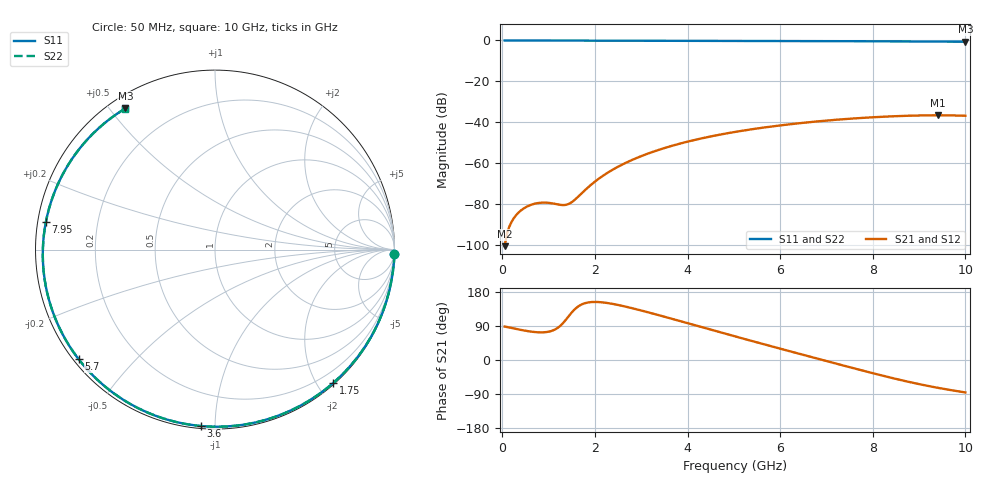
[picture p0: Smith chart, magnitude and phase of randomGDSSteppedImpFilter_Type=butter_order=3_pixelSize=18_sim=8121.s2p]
! freq	dB(S11)	phase(S11)	dB(S12)	phase(S12)
!  dB(S21)	phase(S21)	dB(S22)	phase(S22)
!S-par simulation data
#  GHz  S  DB  R 50
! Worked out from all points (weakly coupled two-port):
!   200 points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, 50 MHz to 10 GHz, reference 50 ohm
!   highest |S21| = -36.60 dB at 9.4 GHz (marker M1); lowest = -100.6 dB at 50 MHz (marker M2)
!   lowest |S11| = -0.6 dB at 10 GHz (marker M3), VSWR 28.22, Z = 2.31 + j27.5 ohm
!   |S11| at or under -10 dB: nowhere
!   |S22| runs from -0.6 to 0.0 dB; largest |S21 - S12| = 0
!   S11 on the Smith chart (normalised r, x): 50 MHz: 0, -80; 1.75 GHz: 0.02, -2.23; 3.6 GHz: 0.01, -0.92; 5.7 GHz: 0.01, -0.35; 7.95 GHz: 0.02, +0.08; 10 GHz: 0.05, +0.55
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0.05  -0.00 -1.4  -100.60 88.2  -100.60 88.2  -0.00 -1.4
0.7  -0.03 -19.7  -79.84 73.8  -79.84 73.8  -0.03 -19.7
0.9  -0.03 -25.3  -79.29 73.1  -79.29 73.1  -0.03 -25.2
1.15  -0.04 -32.2  -79.96 81.2  -79.96 81.2  -0.04 -32.1
1.4  -0.05 -39.0  -80.24 110.4  -80.24 110.4  -0.05 -38.9
1.5  -0.05 -41.7  -79.09 125.5  -79.09 125.5  -0.05 -41.6
1.75  -0.06 -48.4  -73.98 148.4  -73.98 148.4  -0.06 -48.3
2.1  -0.07 -57.6  -67.34 152.8  -67.34 152.8  -0.07 -57.5
2.45  -0.08 -66.6  -62.36 146.5  -62.36 146.5  -0.08 -66.5
2.9  -0.10 -77.8  -57.49 133.8  -57.49 133.8  -0.10 -77.7
3.4  -0.11 -89.9  -53.34 117.6  -53.34 117.6  -0.11 -89.8
3.6  -0.12 -94.6  -51.94 110.9  -51.94 110.9  -0.12 -94.6
4.3  -0.15 -110.7  -47.90 87.0  -47.90 87.0  -0.15 -110.6
5.05  -0.19 -127.3  -44.64 61.5  -44.64 61.5  -0.19 -127.2
5.7  -0.22 -141.2  -42.43 39.9  -42.43 39.9  -0.22 -141.1
6.7  -0.29 -162.4  -39.81 7.0  -39.81 7.0  -0.29 -162.2
7.35  -0.35 -176.2  -38.53 -14.1  -38.53 -14.1  -0.35 -176.1
7.95  -0.40 170.7  -37.63 -33.2  -37.63 -33.2  -0.40 170.9
8.35  -0.44 161.8  -37.17 -45.5  -37.17 -45.5  -0.44 162.0
8.85  -0.49 150.4  -36.77 -59.7  -36.77 -59.7  -0.49 150.6
9.4  -0.55 137.3  -36.60 -73.3  -36.60 -73.3  -0.55 137.5
10  -0.62 122.4  -36.82 -85.6  -36.82 -85.6  -0.62 122.6
